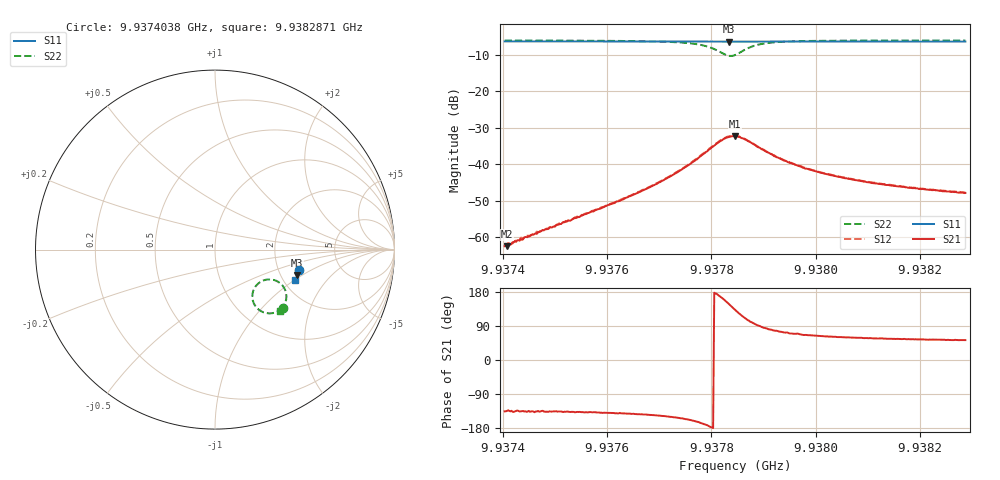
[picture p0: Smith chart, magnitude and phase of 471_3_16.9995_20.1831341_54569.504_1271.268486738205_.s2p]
#  HZ  S  RI  R  50.00
! Rohde & Schwarz Vector Network Analyzer
! Rohde-Schwarz,ZNB20-2Port,1311601062101988,3.16
! Created: UTC 3/20/2024, 11:13:11 PM
! freq[Hz]  re:S11  im:S11  re:S21  im:S21  re:S12  im:S12  re:S22  im:S22
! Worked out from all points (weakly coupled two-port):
!   401 points, 9.9374038 GHz to 9.9382871 GHz, reference 50 ohm
!   highest |S21| = -32.27 dB at 9.9378455 GHz (marker M1); lowest = -62.4 dB at 9.9374082 GHz (marker M2)
!   lowest |S11| = -6.4 dB at 9.9378344 GHz (marker M3), VSWR 2.83, Z = 122 - j45.2 ohm
!   |S11| at or under -10 dB: nowhere
!   |S22| runs from -10.3 to -6.1 dB; largest |S21 - S12| = 0.00092
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9.9374038e9  0.4691 -0.1153  -0.000542 -0.000531  -0.000542 -0.000566  0.3773 -0.3235
9.93740821e9  0.4691 -0.1157  -0.000532 -0.000542  -0.000589 -0.00055  0.3769 -0.3239
9.93741705e9  0.4689 -0.1163  -0.000569 -0.000589  -0.000629 -0.000586  0.3761 -0.3247
9.93743251e9  0.4684 -0.1172  -0.000647 -0.000627  -0.00067 -0.000637  0.3746 -0.3258
9.93755176e9  0.466 -0.1252  -0.00147 -0.00133  -0.00153 -0.00134  0.3619 -0.336
9.93762022e9  0.4643 -0.1299  -0.00241 -0.00197  -0.00244 -0.00198  0.3505 -0.3432
9.93769972e9  0.4622 -0.1352  -0.00473 -0.00311  -0.00482 -0.00307  0.3267 -0.3526
9.9377483e9  0.4607 -0.1386  -0.00814 -0.00375  -0.00837 -0.00367  0.2963 -0.3552
9.93778805e9  0.459 -0.1411  -0.0142 -0.00254  -0.0145 -0.0022  0.2482 -0.338
9.93780351e9  0.4581 -0.142  -0.0176 -9e-05  -0.018 0.000593  0.2242 -0.3131
9.93781676e9  0.4574 -0.1423  -0.0202 0.00438  -0.0206 0.0049  0.2093 -0.2756
9.93783443e9  0.4567 -0.1425  -0.02 0.0129  -0.0201 0.0138  0.2236 -0.2084
9.93784547e9  0.4567 -0.1425  -0.0165 0.0179  -0.0163 0.0186  0.2591 -0.1767
9.93785651e9  0.457 -0.1428  -0.0114 0.0202  -0.0109 0.021  0.3027 -0.1659
9.93787197e9  0.4576 -0.1437  -0.00502 0.0199  -0.00431 0.0204  0.3516 -0.1793
9.93789847e9  0.4577 -0.1457  0.00105 0.0159  0.00147 0.0161  0.3893 -0.2216
9.93793822e9  0.4571 -0.1489  0.00327 0.0109  0.00348 0.011  0.3979 -0.2651
9.93797797e9  0.4562 -0.1517  0.00363 0.00813  0.00372 0.00824  0.3941 -0.2885
9.93799343e9  0.4557 -0.1528  0.00354 0.00751  0.00372 0.00752  0.3921 -0.2947
9.93807293e9  0.4538 -0.158  0.00318 0.00526  0.00332 0.00526  0.3822 -0.3154
9.93814139e9  0.4519 -0.1627  0.00289 0.0043  0.00301 0.0043  0.375 -0.3258
9.93828714e9  0.4477 -0.1719  0.00247 0.00322  0.00257 0.00322  0.3627 -0.3401
